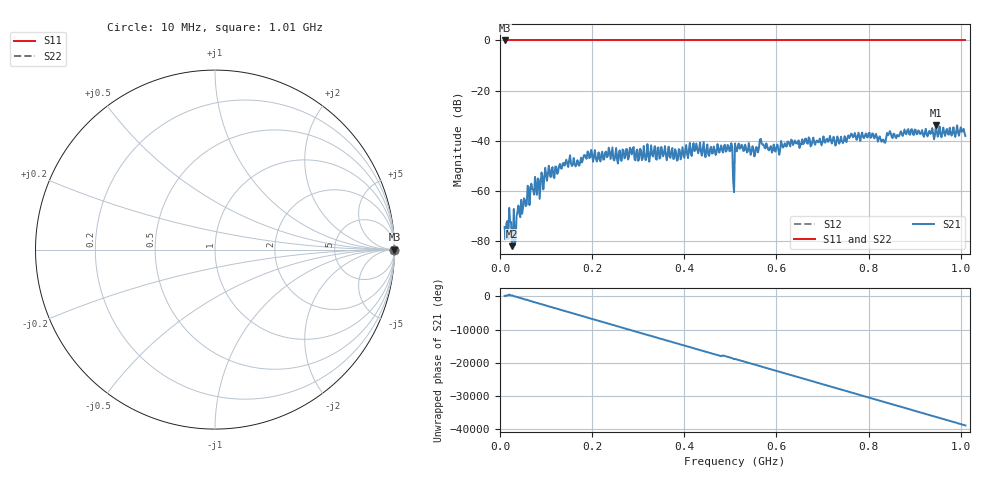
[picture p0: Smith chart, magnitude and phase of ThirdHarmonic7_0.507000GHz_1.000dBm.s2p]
! 8/17/2025 2:38:14 PM
! C:\ANRITSUVNA\TEMP\TEMP.S2P
! CHANNEL.1
! TR.MEASUREMENT
! RAW.DATA
! RF.CORRECTION.OFF
! AVERAGING.OFF
! IF.BANDWIDTH: 5KHZ
! SWEEPTYPE:  FREQ.SWEEP(Linear)
! Reference Plane Port Info
! PORT:  PORT1  PORT2
! DISTANCE:  0  m  0  m
! TIME:  0  s  0  s
! PHASE.OFFSET:  0  deg.  0  deg.
! LOSS:  0  dB  0  dB
! REF.LOSS:  0  dB  0  dB
! REF.FREQ:  0  Hz  0  Hz
! Power Info
! POWER:  -20  dBm  -20  dBm
! EFF.POWER:  -20  dBm  -20  dBm
! SOURCE.ATTEN:  0  dB  0  dB
! TEST.ATTEN:  0  dB  0  dB
# GHZ S RI R 50.0
! FREQ.GHZ  S11RE  S11IM  S21RE  S21IM  S12RE  S12IM  S22RE  S22IM
!; PortSelection: Port_12
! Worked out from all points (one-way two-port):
!   501 points, 10 MHz to 1.01 GHz, reference 50 ohm
!   highest |S21| = -33.77 dB at 946 MHz (marker M1); lowest = -82.1 dB at 26 MHz (marker M2)
!   lowest |S11| = 0.0 dB at 10 MHz (marker M3)
!   |S11| at or under -10 dB: nowhere
!   |S22| runs from 0.0 to 0.0 dB; largest |S21 - S12| = 1
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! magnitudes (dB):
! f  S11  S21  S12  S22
! 10 MHz  0.0  -74.4  0.0  0.0
! 26 MHz  0.0  -82.1  0.0  0.0
! 30 MHz  0.0  -67.2  0.0  0.0
! 42 MHz  0.0  -69.0  0.0  0.0
! 64 MHz  0.0  -65.7  0.0  0.0
! 84 MHz  0.0  -55.4  0.0  0.0
! 102 MHz  0.0  -56.0  0.0  0.0
! 178 MHz  0.0  -48.7  0.0  0.0
! 286 MHz  0.0  -45.4  0.0  0.0
! 296 MHz  0.0  -44.2  0.0  0.0
! 344 MHz  0.0  -42.7  0.0  0.0
! 498 MHz  0.0  -44.2  0.0  0.0
! 504 MHz  0.0  -42.5  0.0  0.0
! 510 MHz  0.0  -41.1  0.0  0.0
! 514 MHz  0.0  -44.2  0.0  0.0
! 556 MHz  0.0  -42.5  0.0  0.0
! 678 MHz  0.0  -40.1  0.0  0.0
! 766 MHz  0.0  -38.6  0.0  0.0
! 832 MHz  0.0  -39.6  0.0  0.0
! 844 MHz  0.0  -37.3  0.0  0.0
! 946 MHz  0.0  -33.8  0.0  0.0
! 1.01 GHz  0.0  -38.1  0.0  0.0
